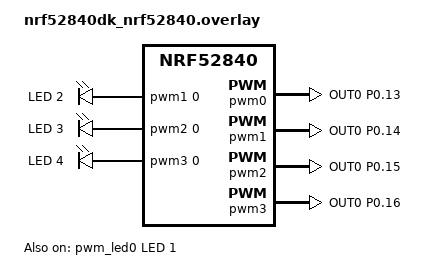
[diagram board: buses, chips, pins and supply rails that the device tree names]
/* Copyright (c) 2021-2022 Nordic Semiconductor ASA
 *
 * SPDX-License-Identifier: LicenseRef-Nordic-5-Clause
 */

/ {
	pwmleds1 {
		compatible = "pwm-leds";
		status = "okay";

		pwm_led1: led_pwm_1 {
			status = "okay";
			pwms = <&pwm1 0 PWM_MSEC(20) PWM_POLARITY_INVERTED>;
			label = "LED 2";
		};
	};

	pwmleds2 {
		compatible = "pwm-leds";
		status = "okay";

		pwm_led2: led_pwm_2 {
			status = "okay";
			pwms = <&pwm2 0 PWM_MSEC(20) PWM_POLARITY_INVERTED>;
			label = "LED 3";
		};
	};

	pwmleds3 {
		compatible = "pwm-leds";
		status = "okay";

		pwm_led3: led_pwm_3 {
			status = "okay";
			pwms = <&pwm3 0 PWM_MSEC(20) PWM_POLARITY_INVERTED>;
			label = "LED 4";
		};
	};
};

&pwm0 {
	status = "okay";
	pinctrl-0 = <&pwm0_default_alt>;
	pinctrl-1 = <&pwm0_sleep_alt>;
	pinctrl-names = "default", "sleep";
};

&pwm1 {
	status = "okay";
	pinctrl-0 = <&pwm1_default_alt>;
	pinctrl-1 = <&pwm1_sleep_alt>;
	pinctrl-names = "default", "sleep";
};

&pwm2 {
	status = "okay";
	pinctrl-0 = <&pwm2_default_alt>;
	pinctrl-1 = <&pwm2_sleep_alt>;
	pinctrl-names = "default", "sleep";
};

&pwm3 {
	status = "okay";
	pinctrl-0 = <&pwm3_default_alt>;
	pinctrl-1 = <&pwm3_sleep_alt>;
	pinctrl-names = "default", "sleep";
};

&pwm_led0 {
	status = "okay";
	pwms = <&pwm0 0 PWM_MSEC(20) PWM_POLARITY_INVERTED>;
	label = "LED 1";
};

&pinctrl {
	pwm0_default_alt: pwm0_default_alt {
		group1 {
			psels = <NRF_PSEL(PWM_OUT0, 0, 13)>;
			nordic,invert;
		};
	};

	pwm0_sleep_alt: pwm0_sleep_alt {
		group1 {
			psels = <NRF_PSEL(PWM_OUT0, 0, 13)>;
			low-power-enable;
		};
	};

	pwm1_default_alt: pwm1_default_alt {
		group1 {
			psels = <NRF_PSEL(PWM_OUT0, 0, 14)>;
			nordic,invert;
		};
	};

	pwm1_sleep_alt: pwm1_sleep_alt {
		group1 {
			psels = <NRF_PSEL(PWM_OUT0, 0, 14)>;
			low-power-enable;
		};
	};

	pwm2_default_alt: pwm2_default_alt {
		group1 {
			psels = <NRF_PSEL(PWM_OUT0, 0, 15)>;
			nordic,invert;
		};
	};

	pwm2_sleep_alt: pwm2_sleep_alt {
		group1 {
			psels = <NRF_PSEL(PWM_OUT0, 0, 15)>;
			low-power-enable;
		};
	};

	pwm3_default_alt: pwm3_default_alt {
		group1 {
			psels = <NRF_PSEL(PWM_OUT0, 0, 16)>;
			nordic,invert;
		};
	};

	pwm3_sleep_alt: pwm3_sleep_alt {
		group1 {
			psels = <NRF_PSEL(PWM_OUT0, 0, 16)>;
			low-power-enable;
		};
	};
};
